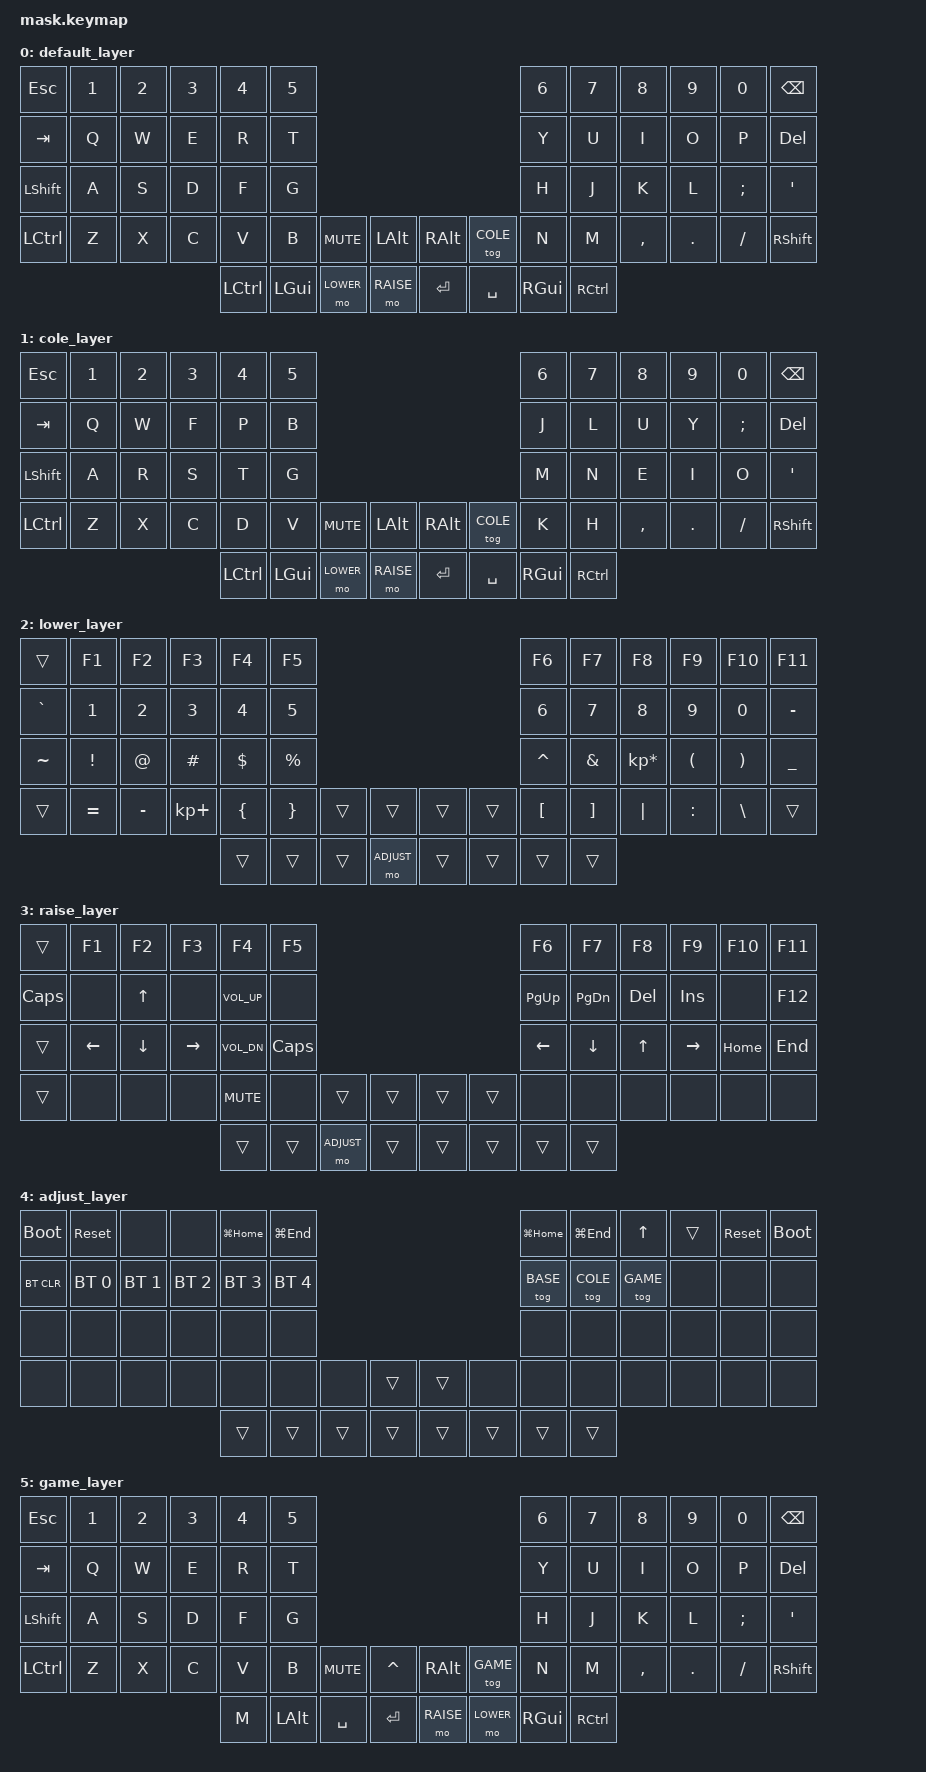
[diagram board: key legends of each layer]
/*
 * Copyright (c) 2020 The ZMK Contributors
 *
 * SPDX-License-Identifier: MIT
 */

#include <behaviors.dtsi>
#include <dt-bindings/zmk/keys.h>
#include <dt-bindings/zmk/bt.h>
#include <dt-bindings/zmk/reset.h>

// layers
#define BASE    0
#define COLE    1
#define LOWER   2
#define RAISE   3
#define ADJUST  4
#define GAME    5

/ {
    keymap {
        compatible = "zmk,keymap";

        default_layer {
// ------------------------------------------------------------------------------------------------------------
// |  ESC  |  1  |  2  |  3   |  4   |  5   |                   |  6   |  7    |  8    |  9   |   0   | BKSPC |
// |  TAB  |  Q  |  W  |  E   |  R   |  T   |                   |  Y   |  U    |  I    |  O   |   P   |  DEL  |
// | SHIFT |  A  |  S  |  D   |  F   |  G   |                   |  H   |  J    |  K    |  L   |   ;   |   '   |
// |  CTRL |  Z  |  X  |  C   |  V   |  B   |  MUTE  |  | GAME  |  N   |  M    |  ,    |  .   |   /   | SHIFT |
//               | CTRL| ALT  | GUI  | LOWER|  RAISE |  | ENTER | SPACE| GUI   | ALT   | CTRL |
            bindings = <
&kp ESC   &kp N1 &kp N2    &kp N3   &kp N4    &kp N5                                                &kp N6    &kp N7    &kp N8    &kp N9    &kp N0   &kp BSPC
&kp TAB   &kp Q  &kp W     &kp E    &kp R     &kp T                                                 &kp Y     &kp U     &kp I     &kp O     &kp P    &kp DEL
&kp LSHFT &kp A  &kp S     &kp D    &kp F     &kp G                                                 &kp H     &kp J     &kp K     &kp L     &kp SEMI &kp SQT
&kp LCTRL &kp Z  &kp X     &kp C    &kp V     &kp B     &kp C_MUTE &kp LALT     &kp RALT  &tog COLE &kp N     &kp M     &kp COMMA &kp DOT   &kp FSLH &kp RSHFT
                                    &kp LCTRL &kp LGUI  &mo LOWER  &mo RAISE    &kp RET   &kp SPACE &kp RGUI  &kp RCTRL
            >;
        };

        cole_layer {
// ------------------------------------------------------------------------------------------------------------
// |  ESC  |  1  |  2  |  3   |  4   |  5   |                   |  6   |  7    |  8    |  9   |   0   | BKSPC |
// |  TAB  |  Q  |  W  |  E   |  R   |  T   |                   |  Y   |  U    |  I    |  O   |   P   |  DEL  |
// | SHIFT |  A  |  S  |  D   |  F   |  G   |                   |  H   |  J    |  K    |  L   |   ;   |   '   |
// |  CTRL |  Z  |  X  |  C   |  V   |  B   |  MUTE  |  | GAME  |  N   |  M    |  ,    |  .   |   /   | SHIFT |
//               | CTRL| ALT  | GUI  | LOWER|  RAISE |  | ENTER | SPACE| GUI   | ALT   | CTRL |
            bindings = <
&kp ESC   &kp N1 &kp N2    &kp N3   &kp N4    &kp N5                                                &kp N6    &kp N7    &kp N8    &kp N9    &kp N0   &kp BSPC
&kp TAB   &kp Q  &kp W     &kp F    &kp P     &kp B                                                 &kp J     &kp L     &kp U     &kp Y     &kp SEMI &kp DEL
&kp LSHFT &kp A  &kp R     &kp S    &kp T     &kp G                                                 &kp M     &kp N     &kp E     &kp I     &kp O    &kp SQT
&kp LCTRL &kp Z  &kp X     &kp C    &kp D     &kp V     &kp C_MUTE &kp LALT     &kp RALT  &tog COLE &kp K     &kp H     &kp COMMA &kp DOT   &kp FSLH &kp RSHFT
                                    &kp LCTRL &kp LGUI  &mo LOWER  &mo RAISE    &kp RET   &kp SPACE &kp RGUI  &kp RCTRL
            >;
        };



        lower_layer {
// TODO: Some binds are waiting for shifted keycode support.
// ------------------------------------------------------------------------------------------------------------
// |       |  F1 |  F2 |  F3  |  F4  |  F5  |                   |  F6  |  F7   |  F8   |  F9  |  F10  |  F11  |
// | `     |   1 |   2 |   3  |   4  |   5  |                   |   6  |   7   |   8   |   9  |    0  |  F12  |
// |       |  !  |  @  |  #   |  $   |  %   |                   |  ^   |  &    |  *    |  (   |   )   |   |   |
// |       |  =  |  -  |  +   |  {   |  }   |        |  |       |  [   |  ]    |  ;    |  :   |   \   |       |
//               |     |      |      |      |        |  |       |      |       |       |      |
            bindings = <
&trans    &kp F1    &kp F2    &kp F3      &kp F4    &kp F5                                         &kp F6    &kp F7   &kp F8          &kp F9    &kp F10   &kp F11
&kp GRAVE &kp N1    &kp N2    &kp N3      &kp N4    &kp N5                                         &kp N6    &kp N7   &kp N8          &kp N9    &kp N0    &kp MINUS
&kp TILDE &kp EXCL  &kp AT    &kp HASH    &kp DLLR  &kp PRCNT                                      &kp CARET &kp AMPS &kp KP_MULTIPLY &kp LPAR  &kp RPAR  &kp UNDER
&trans    &kp EQUAL &kp MINUS &kp KP_PLUS &kp LBRC  &kp RBRC  &trans     &trans      &trans &trans &kp LBKT  &kp RBKT &kp PIPE        &kp COLON &kp BSLH  &trans
                                          &trans    &trans    &trans     &mo ADJUST  &trans &trans &trans    &trans
            >;
        };

        raise_layer {
// ------------------------------------------------------------------------------------------------------------
// |     |  F1  |  F2  |  F3   |  F4   |  F5  |                |  F6  |  F7  |  F8   |  F9  |  F10  |  F11  |
// |CAPS |      |  UP  |       | VOL+  |      |                | PGUP |      |   ^   |      |       |  F12  |
// |     | LEFT | DOWN | RIGHT | VOL-  |      |                | PGDN |   <- |   v   |  ->  |  DEL  | BKSPC |
// |     |      |      |       | MUTE  |      |      |  |      |      |      |       |      |       |       |
//              |      |       |       |      |      |  |      |      |      |       |      |
            bindings = <
&trans   &kp F1   &kp F2   &kp F3    &kp F4       &kp F5                                          &kp F6    &kp F7    &kp F8   &kp F9    &kp F10  &kp F11
&kp CLCK &none    &kp UP   &none     &kp C_VOL_UP &none                                           &kp PG_UP &kp PG_DN &kp DEL  &kp INS   &none    &kp F12
&trans   &kp LEFT &kp DOWN &kp RIGHT &kp C_VOL_DN &kp CLCK                                        &kp LEFT  &kp DOWN  &kp UP   &kp RIGHT &kp HOME &kp END
&trans   &none    &none    &none     &kp C_MUTE   &none      &trans     &trans    &trans  &trans  &none     &none     &none    &none     &none    &none
                                     &trans       &trans     &mo ADJUST &trans    &trans  &trans  &trans    &trans   
            >;
        };
        adjust_layer {
// ------------------------------------------------------------------------------------------------------------
// |BOOT | RESET|      |       | GEND  |GHOME |                | GHOME| GEND |       |      | RESET | BOOT  |
// |BTCLR| BT1  | BT2  |  BT3  |  BT4  |  BT5 |                |      |      |       |      |       |       |
// |     | ALT  | CTRL | SHIFT |       | CAPS |                |      |      |       |      |       |       |
// |     | UNDO | CUT  | COPY  | PASTE |      |      |  |      |      |      |       |      |       |       |
//              |      |       |       |      |      |  |      |      |      |       |      |
            bindings = <
&bootloader &sys_reset    &none        &none        &kp LG(HOME) &kp LG(END)                              &kp LG(HOME) &kp LG(END) &kp UP    &trans    &sys_reset  &bootloader
&bt BT_CLR  &bt BT_SEL 0  &bt BT_SEL 1 &bt BT_SEL 2 &bt BT_SEL 3 &bt BT_SEL 4                             &tog BASE    &tog COLE   &tog GAME &none     &none       &none
&none       &none         &none        &none        &none        &none                                    &none        &none       &none     &none     &none       &none
&none       &none         &none        &none        &none        &none   &none  &trans     &trans &none   &none        &none       &none     &none     &none       &none
                                                    &trans       &trans  &trans &trans     &trans &trans  &trans       &trans
            >;
        };

        game_layer {
// ------------------------------------------------------------------------------------------------------------
// |  ESC  |  1  |  2  |  3   |  4   |  5   |                   |  6   |  7    |  8    |  9   |   0   | BKSPC |
// |  TAB  |  Q  |  W  |  E   |  R   |  T   |                   |  Y   |  U    |  I    |  O   |   P   |  DEL  |
// | SHIFT |  A  |  S  |  D   |  F   |  G   |                   |  H   |  J    |  K    |  L   |   ;   |   '   |
// |  CTRL |  Z  |  X  |  C   |  V   |  B   |  MUTE  |  | GAME  |  N   |  M    |  ,    |  .   |   /   | SHIFT |
//               |  ^  |  M   | ALT  | SPACE|  ENTER |  | SPACE | RAISE| CTRL  | ALT   | GUI  |
            bindings = <
&kp ESC   &kp N1 &kp N2    &kp N3   &kp N4   &kp N5                                               &kp N6    &kp N7    &kp N8    &kp N9    &kp N0   &kp BSPC
&kp TAB   &kp Q  &kp W     &kp E    &kp R    &kp T                                                &kp Y     &kp U     &kp I     &kp O     &kp P    &kp DEL
&kp LSHFT &kp A  &kp S     &kp D    &kp F    &kp G                                                &kp H     &kp J     &kp K     &kp L     &kp SEMI &kp SQT
&kp LCTRL &kp Z  &kp X     &kp C    &kp V    &kp B     &kp C_MUTE &kp CARET  &kp RALT  &tog GAME  &kp N     &kp M     &kp COMMA &kp DOT   &kp FSLH &kp RSHFT
                                    &kp M    &kp LALT  &kp SPACE  &kp RET    &mo RAISE &mo LOWER  &kp RGUI  &kp RCTRL
            >;
        };

    };
};
